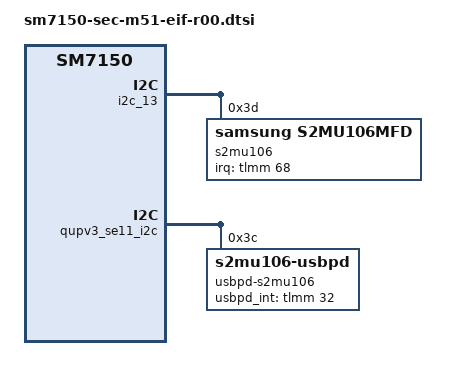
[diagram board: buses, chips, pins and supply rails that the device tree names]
/*
 * Copyright (c) 2019, The Linux Foundation. All rights reserved.
 *
 * This program is free software; you can redistribute it and/or modify
 * it under the terms of the GNU General Public License version 2 and
 * only version 2 as published by the Free Software Foundation.
 *
 * This program is distributed in the hope that it will be useful,
 * but WITHOUT ANY WARRANTY; without even the implied warranty of
 * MERCHANTABILITY or FITNESS FOR A PARTICULAR PURPOSE.  See the
 * GNU General Public License for more details.
 */

&i2c_13 {
	s2mu106@3D {
		status = "okay";
		compatible = "samsung,s2mu106mfd";
		reg = <0x3D>;
		pinctrl-names = "default";
		pinctrl-0 = <&if_pmic_irq>;
		s2mu106,irq-gpio = <&tlmm 68 0>;
		s2mu106,wakeup;
	};
};

&qupv3_se11_i2c {
	status = "ok";
	qcom,disable-autosuspend; /* QC suggestion CN#04711439, prevent suspend in LCD off */
	usbpd-s2mu106@3C {
		compatible = "s2mu106-usbpd";
		reg = <0x3C>;
		pinctrl-names = "default";
		pinctrl-0     = <&usbpd_irq>;
		usbpd,usbpd_int = <&tlmm 32 0>;
	};
};
